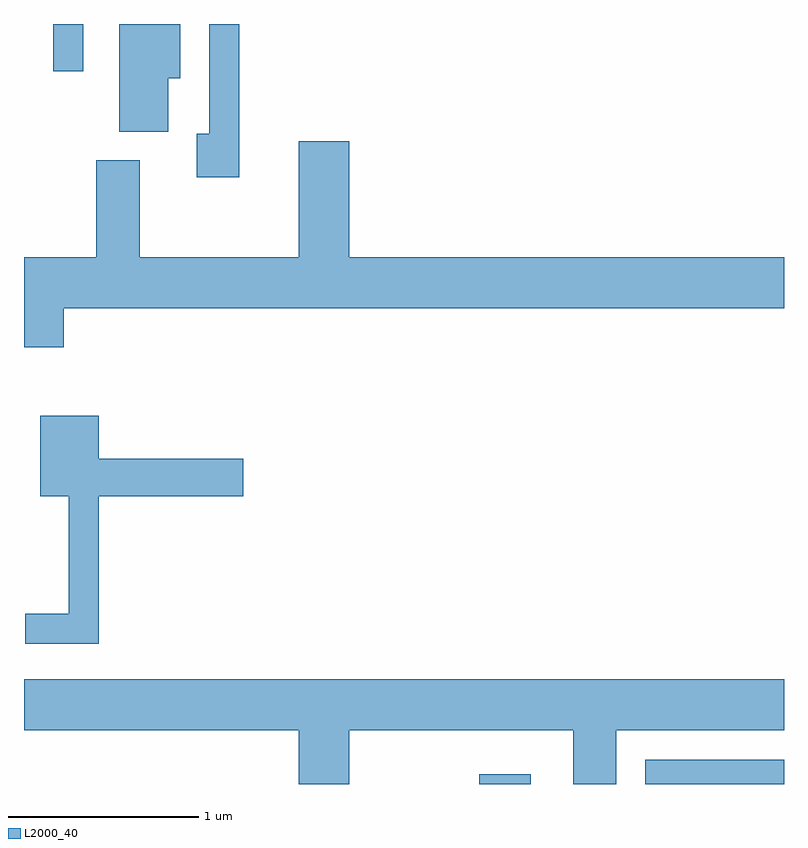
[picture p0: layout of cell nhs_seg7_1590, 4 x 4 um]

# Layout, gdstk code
import gdstk
lib = gdstk.Library(unit=1e-6, precision=1e-09)
def R(c, l, rs):  # rectangles x0, y0, x1, y1
    for r in rs: c.add(gdstk.rectangle(r[:2], r[2:], *l))
def P(c, l, *ps):  # polygons
    for p in ps: c.add(gdstk.Polygon(p, *l))
L2000_40 = (2000, 40)

nhs_seg7_1590 = lib.new_cell('nhs_seg7_1590')
R(nhs_seg7_1590, L2000_40, [(236.006,1716.252,236.278,1716.304), (236.881,1716.252,237.611,1716.379), (233.766,1720.003,233.924,1720.252)])
P(nhs_seg7_1590, L2000_40, [(234.369,1719.966),(234.434,1719.966),(234.434,1720.252),(234.111,1720.252),(234.111,1719.686),(234.369,1719.686)],
  [(234.744,1720.252),(234.586,1720.252),(234.586,1719.674),(234.521,1719.674),(234.521,1719.446),(234.744,1719.446)],
  [(233.819,1718.756),(237.611,1718.756),(237.611,1719.024),(235.324,1719.024),(235.324,1719.634),(235.056,1719.634),(235.056,1719.024),(234.219,1719.024),(234.219,1719.534),(233.991,1719.534),(233.991,1719.024),(233.611,1719.024),(233.611,1718.551),(233.819,1718.551)],
  [(234.004,1717.766),(234.764,1717.766),(234.764,1717.964),(234.004,1717.964),(234.004,1718.189),(233.696,1718.189),(233.696,1717.766),(233.846,1717.766),(233.846,1717.149),(233.618,1717.149),(233.618,1716.991),(234.004,1716.991)],
  [(235.324,1716.536),(236.501,1716.536),(236.501,1716.252),(236.729,1716.252),(236.729,1716.536),(237.611,1716.536),(237.611,1716.804),(233.611,1716.804),(233.611,1716.536),(235.056,1716.536),(235.056,1716.252),(235.324,1716.252)])

lib.write_gds('nhs_seg7_1590.gds')
